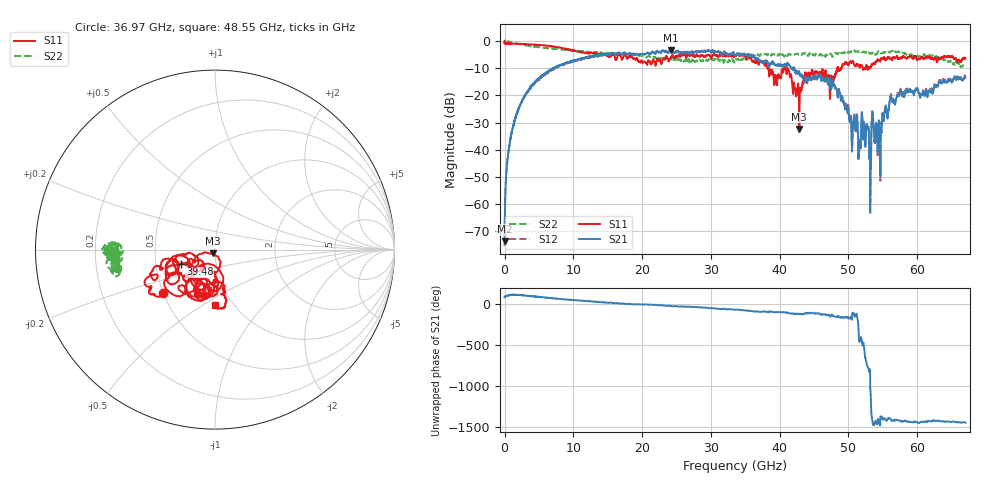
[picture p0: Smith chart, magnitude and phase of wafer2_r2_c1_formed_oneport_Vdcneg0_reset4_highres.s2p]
!Keysight Technologies,N5227A,US51270248,A.10.65.08
!Date: Tuesday, June 11, 2024 08:28:58
!Correction: S11(Full 2 Port(1,4))
!S41(Full 2 Port(1,4))
!S14(Full 2 Port(1,4))
!S44(Full 2 Port(1,4))
!S2P File: Measurements: S11, S41, S14, S44:
# Hz S  dB  R 50
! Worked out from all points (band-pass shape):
!   6401 points, 10 MHz to 67 GHz, reference 50 ohm
!   highest |S21| = -3.28 dB at 24.2 GHz (marker M1); lowest = -73.8 dB at 10 MHz (marker M2)
!   |S21| within 3 dB of the highest: 11.37 GHz to 11.57 GHz (201.4 MHz wide, 1.76 % of centre); 11.58 GHz to 36.37 GHz (24.79 GHz wide, 103 % of centre)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
!   lowest |S11| = -32.4 dB at 42.85 GHz (marker M3), VSWR 1.05, Z = 48.7 - j1.96 ohm
!   |S11| at or under -10 dB: 38.37 GHz to 40.6 GHz (2.231 GHz wide, 5.65 % of centre); 41.15 GHz to 48.39 GHz (7.236 GHz wide, 16.2 % of centre); 48.53 GHz to 48.92 GHz (391.2 MHz wide, 0.803 % of centre)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
!   |S22| runs from -9.5 to 0.3 dB; largest |S21 - S12| = 0.058
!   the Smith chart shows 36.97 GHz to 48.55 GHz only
!   S11 on the Smith chart (normalised r, x): 36.97 GHz: 0.50, -0.28; 39.48 GHz: 0.67, -0.11; 48.55 GHz: 0.83, -0.56
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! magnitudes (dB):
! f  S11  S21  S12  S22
! 10 MHz  -0.6  -73.8  -75.6  0.0
! 397.3 MHz  -0.8  -44.3  -44.4  0.1
! 732.2 MHz  -0.9  -37.9  -37.9  -0.2
! 2.522 GHz  -1.0  -22.1  -22.2  -1.2
! 5.756 GHz  -1.5  -12.1  -12.4  -2.4
! 11.18 GHz  -4.2  -6.2  -6.7  -3.7
! 22.35 GHz  -7.0  -3.9  -3.9  -6.1
! 24.2 GHz  -6.0  -3.3  -3.4  -6.6
! 33.51 GHz  -5.6  -5.2  -5.1  -7.4
! 36.97 GHz  -8.4  -7.0  -7.0  -5.1
! 39.48 GHz  -13.6  -8.8  -9.0  -5.1
! 40.97 GHz  -11.3  -9.2  -9.0  -4.8
! 42.85 GHz  -32.4  -11.5  -11.4  -4.8
! 44.67 GHz  -10.7  -13.9  -13.6  -4.6
! 47.54 GHz  -13.2  -17.2  -16.8  -4.9
! 48.55 GHz  -10.2  -18.0  -17.7  -4.5
! 50.4 GHz  -7.8  -29.9  -28.5  -3.7
! 53.01 GHz  -9.8  -37.9  -36.9  -4.3
! 53.69 GHz  -8.0  -32.7  -32.4  -3.9
! 54.52 GHz  -6.9  -30.6  -31.2  -4.4
! 55.84 GHz  -5.9  -25.4  -24.9  -3.8
! 67 GHz  -6.2  -13.4  -12.9  -8.8
